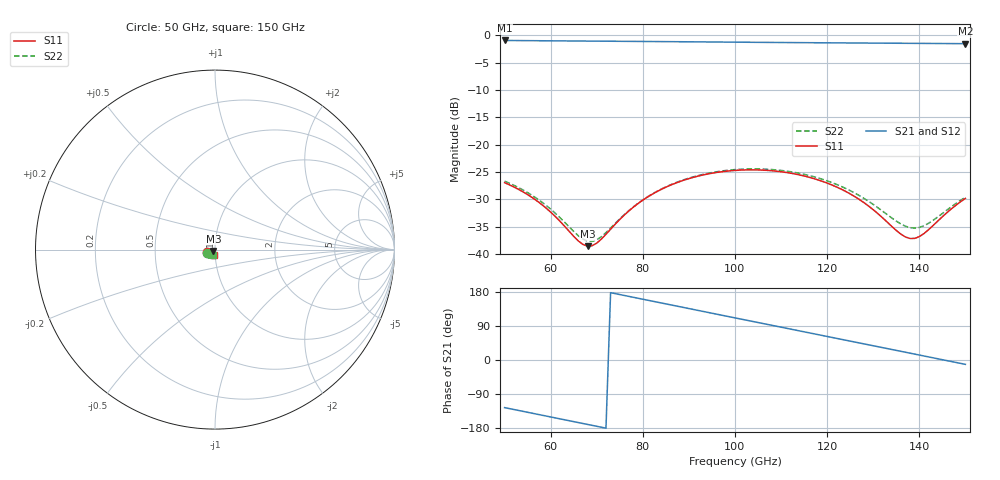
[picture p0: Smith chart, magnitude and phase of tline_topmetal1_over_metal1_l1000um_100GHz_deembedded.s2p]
! Created with skrf 2.2.0 (http://scikit-rf.org).
# GHz S DB R 50.0
! Port[1] = P1
! Port[2] = P2
!freq dBS11 angS11 dBS21 angS21 dBS12 angS12 dBS22 angS22
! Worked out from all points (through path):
!   101 points, 50 GHz to 150 GHz, reference 50 ohm
!   highest |S21| = -0.95 dB at 50 GHz (marker M1); lowest = -1.5 dB at 150 GHz (marker M2)
!   group delay of S21, straight-line fit = 6.83 ps
!   lowest |S11| = -38.6 dB at 68 GHz (marker M3), VSWR 1.02, Z = 49.1 - j0.789 ohm
!   |S11| at or under -10 dB: start of sweep to end of sweep
!   |S22| runs from -37.7 to -24.4 dB; largest |S21 - S12| = 1e-13
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50  -26.96 -159.5  -0.95 -125.7  -0.95 -125.7  -26.68 -158.2
58  -30.91 -172.5  -1.00 -145.4  -1.00 -145.4  -30.45 -170.7
63  -34.90 -169.5  -1.03 -157.7  -1.03 -157.7  -34.17 -168.0
67  -38.25 -146.7  -1.05 -167.6  -1.05 -167.6  -37.29 -148.1
68  -38.57 -137.1  -1.06 -170.0  -1.06 -170.0  -37.66 -139.8
69  -38.48 -127.2  -1.06 -172.5  -1.06 -172.5  -37.70 -130.8
71  -37.27 -110.6  -1.08 -177.4  -1.08 -177.4  -36.83 -114.8
76  -32.86 -95.2  -1.11 170.2  -1.11 170.2  -32.78 -97.4
80  -30.14 -96.3  -1.13 160.4  -1.13 160.4  -30.10 -97.3
84  -28.18 -101.5  -1.15 150.5  -1.15 150.5  -28.12 -101.8
92  -25.75 -116.3  -1.20 130.8  -1.20 130.8  -25.65 -115.6
100  -24.71 -132.9  -1.26 111.2  -1.26 111.2  -24.56 -131.5
108  -24.77 -149.7  -1.31 91.5  -1.31 91.5  -24.56 -147.5
112  -25.21 -157.7  -1.33 81.7  -1.33 81.7  -24.95 -155.2
117  -26.18 -167.1  -1.36 69.5  -1.36 69.5  -25.84 -164.0
126  -29.50 -179.4  -1.41 47.4  -1.41 47.4  -28.86 -175.0
130  -31.90 -180.0  -1.43 37.6  -1.43 37.6  -30.94 -175.0
134  -34.93 -171.6  -1.45 27.8  -1.45 27.8  -33.39 -167.6
137  -36.89 -153.8  -1.46 20.4  -1.46 20.4  -34.92 -153.9
140  -36.82 -129.0  -1.48 13.1  -1.48 13.1  -35.14 -135.0
145  -33.19 -106.0  -1.51 0.8  -1.51 0.8  -32.59 -113.0
150  -29.83 -103.5  -1.53 -11.5  -1.53 -11.5  -29.62 -108.0
